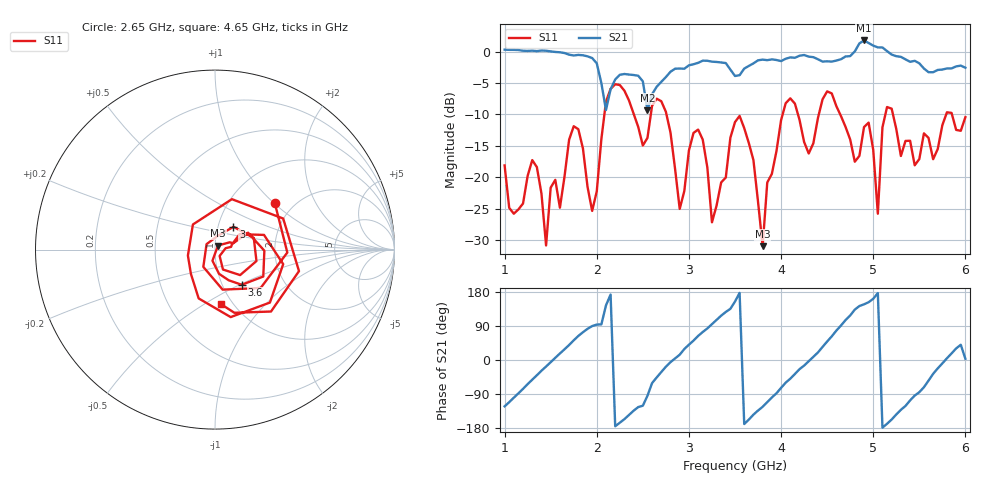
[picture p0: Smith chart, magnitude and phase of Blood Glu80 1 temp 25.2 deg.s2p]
! NanoVNA-App
! Date: 2024-03-21 13:11:51
! Start: 1GHz Stop: 6GHz Points: 101
! S-Parameter data: F S11 S21 S12 S22
# Hz S RI R 50
!	Frequency	S11_Real	S11_Imag	S21_Real	S21_Imag	S12_Real	S12_Imag	S22_Real	S22_Imag
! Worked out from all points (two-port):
!   101 points, 1 GHz to 6 GHz, reference 50 ohm
!   highest |S21| = 1.79 dB at 4.9 GHz (marker M1); lowest = -9.3 dB at 2.55 GHz (marker M2)
!   |S21| within 3 dB of the highest: start of sweep to 1.962 GHz; 4.647 GHz to 5.349 GHz (702 MHz wide, 14 % of centre)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
!   lowest |S11| = -31.0 dB at 3.8 GHz (marker M3), VSWR 1.06, Z = 51.6 + j2.36 ohm
!   |S11| at or under -10 dB: start of sweep to 2.083 GHz; 2.756 GHz to 4.017 GHz (1.26 GHz wide, 37.2 % of centre); 5.214 GHz to 5.791 GHz (577.2 MHz wide, 10.5 % of centre)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
!   S12 and S22 are empty: the file has one direction only
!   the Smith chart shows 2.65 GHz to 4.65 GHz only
!   S11 on the Smith chart (normalised r, x): 2.65 GHz: 1.60, +1.01; 3 GHz: 1.19, +0.31; 3.6 GHz: 1.23, -0.51; 4.65 GHz: 0.88, -0.60
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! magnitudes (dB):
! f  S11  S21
! 1 GHz  -18.1  0.3
! 1.35 GHz  -18.4  0.1
! 1.45 GHz  -30.9  0.2
! 1.85 GHz  -15.4  -0.6
! 1.95 GHz  -25.4  -1.0
! 2.15 GHz  -5.9  -6.0
! 2.55 GHz  -13.7  -9.3
! 2.65 GHz  -7.5  -5.6
! 2.7 GHz  -7.9  -4.8
! 2.9 GHz  -25.0  -2.7
! 3 GHz  -15.7  -2.2
! 3.25 GHz  -27.2  -1.6
! 3.5 GHz  -11.2  -3.9
! 3.6 GHz  -12.2  -2.7
! 3.8 GHz  -31.0  -1.3
! 4.05 GHz  -8.2  -1.1
! 4.35 GHz  -14.6  -0.9
! 4.65 GHz  -10.3  -1.2
! 4.9 GHz  -12.0  1.8
! 5.05 GHz  -25.8  0.7
! 5.2 GHz  -9.1  -0.5
! 6 GHz  -10.4  -2.6
